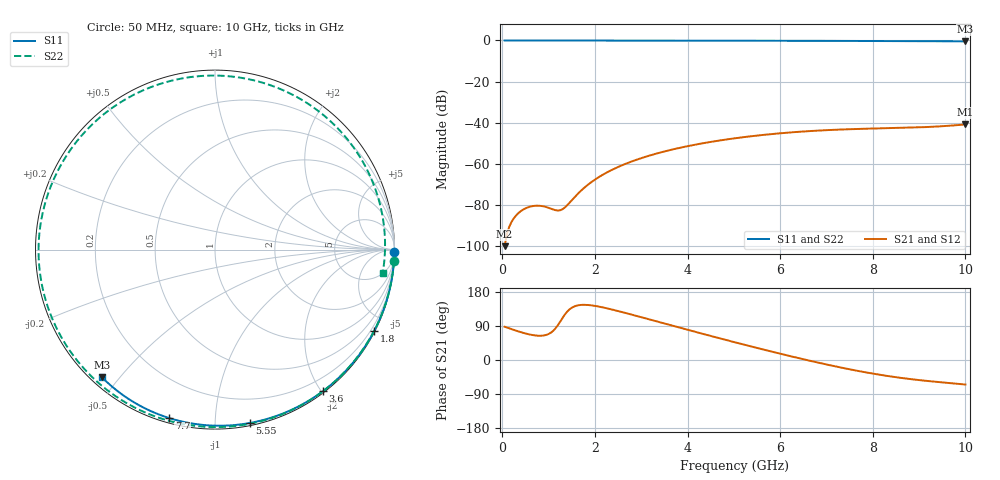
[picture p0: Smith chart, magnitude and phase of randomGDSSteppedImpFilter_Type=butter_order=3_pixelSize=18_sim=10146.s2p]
! freq	dB(S11)	phase(S11)	dB(S12)	phase(S12)
!  dB(S21)	phase(S21)	dB(S22)	phase(S22)
!S-par simulation data
#  GHz  S  DB  R 50
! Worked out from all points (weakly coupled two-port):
!   200 points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, 50 MHz to 10 GHz, reference 50 ohm
!   highest |S21| = -40.88 dB at 10 GHz (marker M1); lowest = -100.2 dB at 50 MHz (marker M2)
!   lowest |S11| = -0.4 dB at 10 GHz (marker M3), VSWR 39.02, Z = 1.54 - j22.5 ohm
!   |S11| at or under -10 dB: nowhere
!   |S22| runs from -0.5 to 0.0 dB; largest |S21 - S12| = 0
!   S11 on the Smith chart (normalised r, x): 50 MHz: open; 1.8 GHz: 0.04, -4.17; 3.6 GHz: 0.02, -2.02; 5.55 GHz: 0.02, -1.22; 7.7 GHz: 0.02, -0.77; 10 GHz: 0.03, -0.45
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0.05  -0.00 -0.8  -100.16 87.8  -100.16 87.8  -0.00 -3.7
0.45  -0.01 -6.8  -82.35 71.7  -82.35 71.7  -0.05 -32.2
0.9  -0.02 -13.6  -80.83 64.8  -80.83 64.8  -0.07 -62.0
1.15  -0.02 -17.3  -82.64 83.7  -82.64 83.7  -0.09 -77.0
1.4  -0.03 -21.1  -80.26 127.6  -80.26 127.6  -0.10 -90.9
1.75  -0.03 -26.2  -72.11 145.6  -72.11 145.6  -0.11 -108.3
1.8  -0.03 -27.0  -71.15 145.5  -71.15 145.5  -0.11 -110.7
2.15  -0.04 -32.1  -65.64 139.4  -65.64 139.4  -0.12 -126.0
2.55  -0.05 -37.9  -61.12 127.7  -61.12 127.7  -0.12 -141.6
2.95  -0.06 -43.6  -57.68 114.7  -57.68 114.7  -0.13 -155.8
3.4  -0.07 -49.9  -54.64 99.7  -54.64 99.7  -0.14 -170.3
3.6  -0.07 -52.7  -53.49 93.0  -53.49 93.0  -0.15 -176.5
4.3  -0.09 -62.3  -50.18 70.0  -50.18 70.0  -0.17 163.2
5.05  -0.11 -72.3  -47.55 45.9  -47.55 45.9  -0.19 142.4
5.55  -0.13 -78.7  -46.19 30.3  -46.19 30.3  -0.21 128.6
6.15  -0.15 -86.3  -44.91 12.2  -44.91 12.2  -0.24 111.9
6.7  -0.18 -93.1  -44.04 -3.6  -44.04 -3.6  -0.26 96.3
7.2  -0.21 -99.2  -43.47 -17.0  -43.47 -17.0  -0.28 81.6
7.7  -0.24 -105.1  -43.07 -29.3  -43.07 -29.3  -0.30 66.5
8.35  -0.29 -112.7  -42.71 -42.7  -42.71 -42.7  -0.34 46.1
9.2  -0.36 -122.5  -42.12 -55.6  -42.12 -55.6  -0.41 18.6
10  -0.45 -131.5  -40.88 -64.7  -40.88 -64.7  -0.51 -7.9
